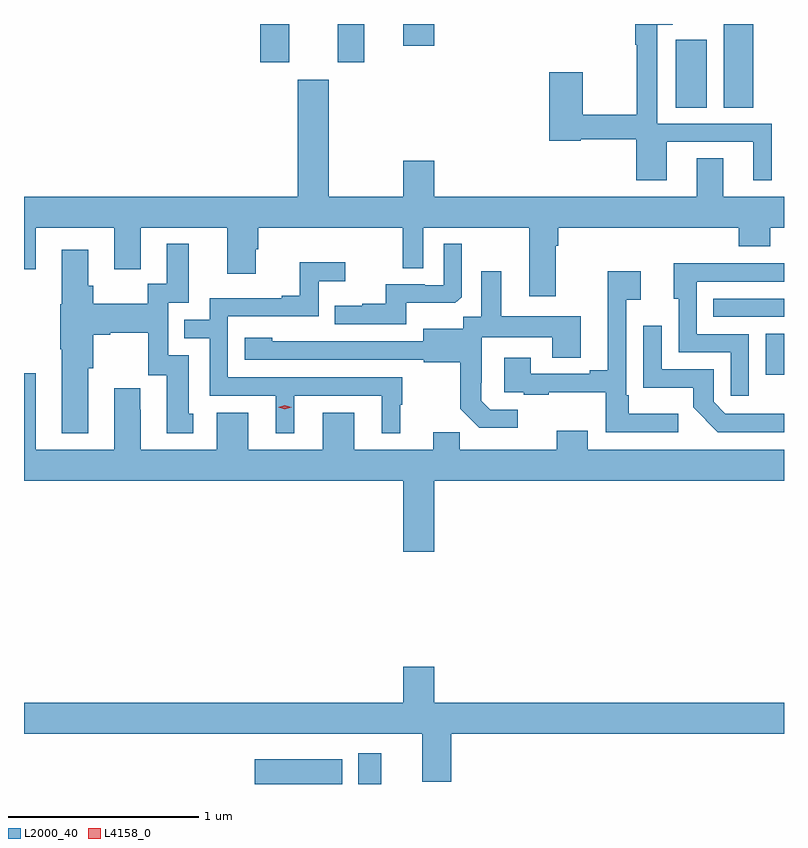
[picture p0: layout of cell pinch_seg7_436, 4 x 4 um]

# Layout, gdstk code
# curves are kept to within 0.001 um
import gdstk
lib = gdstk.Library(unit=1e-6, precision=1e-09)
def R(c, l, rs):  # rectangles x0, y0, x1, y1
    for r in rs: c.add(gdstk.rectangle(r[:2], r[2:], *l))
def P(c, l, *ps):  # polygons
    for p in ps: c.add(gdstk.Polygon(p, *l))
L2000_40 = (2000, 40)
L4158_0 = (4158, 0)

pinch_seg7_436 = lib.new_cell('pinch_seg7_436')
R(pinch_seg7_436, L2000_40, [(272.118,1048.304,272.578,1048.435), (272.663,1048.304,272.785,1048.465), (274.808,1050.458,274.904,1050.673), (274.531,1050.762,274.904,1050.858), (274.334,1051.864,274.498,1052.221), (274.586,1051.864,274.741,1052.304), (272.147,1052.103,272.299,1052.304), (272.555,1052.103,272.695,1052.304), (272.9,1052.19,273.064,1052.304)])
P(pinch_seg7_436, L2000_40, [(274.288,1051.683),(274.742,1051.683),(274.742,1051.482),(274.84,1051.482),(274.84,1051.779),(274.236,1051.779),(274.236,1052.301),(274.318,1052.301),(274.318,1052.304),(274.12,1052.304),(274.12,1052.194),(274.128,1052.194),(274.128,1051.826),(273.846,1051.826),(273.846,1052.05),(273.668,1052.05),(273.668,1051.69),(273.834,1051.69),(273.834,1051.698),(274.127,1051.698),(274.127,1051.482),(274.288,1051.482)],
  [(270.904,1051.014),(270.967,1051.014),(270.967,1051.232),(271.379,1051.232),(271.379,1051.014),(271.519,1051.014),(271.519,1051.232),(271.973,1051.232),(271.973,1050.99),(272.125,1050.99),(272.125,1051.119),(272.138,1051.119),(272.138,1051.232),(272.898,1051.232),(272.898,1051.018),(273.006,1051.018),(273.006,1051.232),(273.563,1051.232),(273.563,1050.87),(273.703,1050.87),(273.703,1051.136),(273.716,1051.136),(273.716,1051.232),(274.667,1051.232),(274.667,1051.133),(274.831,1051.133),(274.831,1051.232),(274.904,1051.232),(274.904,1051.396),(274.585,1051.396),(274.585,1051.598),(274.445,1051.598),(274.445,1051.396),(273.064,1051.396),(273.064,1051.585),(272.9,1051.585),(272.9,1051.396),(272.509,1051.396),(272.509,1052.011),(272.345,1052.011),(272.345,1051.396),(270.904,1051.396)],
  [(272.917,1050.836),(273.175,1050.836),(273.207,1050.867),(273.207,1051.147),(273.114,1051.147),(273.114,1050.93),(273.014,1050.93),(273.014,1050.933),(272.807,1050.933),(272.807,1050.832),(272.683,1050.832),(272.683,1050.82),(272.539,1050.82),(272.539,1050.723),(272.917,1050.723)],
  [(271.243,1050.491),(271.269,1050.491),(271.269,1050.668),(271.357,1050.668),(271.357,1050.68),(271.559,1050.68),(271.559,1050.456),(271.655,1050.456),(271.655,1050.15),(271.795,1050.15),(271.795,1050.252),(271.771,1050.252),(271.771,1050.561),(271.662,1050.561),(271.662,1050.837),(271.771,1050.837),(271.771,1051.147),(271.655,1051.147),(271.655,1050.938),(271.554,1050.938),(271.554,1050.832),(271.269,1050.832),(271.269,1050.927),(271.243,1050.927),(271.243,1051.117),(271.103,1051.117),(271.103,1050.828),(271.096,1050.828),(271.096,1050.591),(271.103,1050.591),(271.103,1050.149),(271.243,1050.149)],
  [(272.326,1050.348),(272.786,1050.348),(272.786,1050.149),(272.884,1050.149),(272.884,1050.3),(272.896,1050.3),(272.896,1050.444),(271.977,1050.444),(271.977,1050.765),(272.454,1050.765),(272.454,1050.95),(272.596,1050.95),(272.596,1051.049),(272.356,1051.049),(272.356,1050.874),(272.261,1050.874),(272.261,1050.861),(271.881,1050.861),(271.881,1050.747),(271.747,1050.747),(271.747,1050.651),(271.881,1050.651),(271.881,1050.348),(272.228,1050.348),(272.228,1050.149),(272.326,1050.149)],
  [(274.719,1050.672),(274.446,1050.672),(274.446,1050.948),(274.904,1050.948),(274.904,1051.044),(274.543,1051.044),(274.543,1051.046),(274.325,1051.046),(274.325,1050.858),(274.35,1050.858),(274.35,1050.576),(274.623,1050.576),(274.623,1050.348),(274.719,1050.348)],
  [(273.502,1050.273),(273.357,1050.273),(273.31,1050.32),(273.31,1050.415),(273.312,1050.415),(273.312,1050.656),(273.683,1050.656),(273.683,1050.547),(273.835,1050.547),(273.835,1050.766),(273.415,1050.766),(273.415,1051.003),(273.311,1051.003),(273.311,1050.764),(273.216,1050.764),(273.216,1050.7),(273.005,1050.7),(273.005,1050.633),(272.211,1050.634),(272.211,1050.652),(272.067,1050.652),(272.067,1050.537),(273.009,1050.537),(273.009,1050.525),(273.201,1050.525),(273.201,1050.279),(273.301,1050.179),(273.502,1050.179)],
  [(274.348,1050.253),(274.087,1050.253),(274.087,1050.349),(274.074,1050.349),(274.074,1050.854),(274.15,1050.854),(274.15,1051.003),(273.977,1051.003),(273.977,1050.481),(273.881,1050.481),(273.881,1050.462),(273.571,1050.462),(273.571,1050.547),(273.431,1050.547),(273.431,1050.366),(273.535,1050.366),(273.535,1050.354),(273.667,1050.354),(273.667,1050.365),(273.966,1050.365),(273.966,1050.156),(274.348,1050.156)],
  [(274.904,1050.254),(274.82,1050.254),(274.82,1050.252),(274.596,1050.252),(274.533,1050.315),(274.533,1050.486),(274.26,1050.486),(274.26,1050.715),(274.164,1050.715),(274.164,1050.389),(274.426,1050.389),(274.426,1050.287),(274.556,1050.156),(274.904,1050.156)],
  [(274.904,1050.064),(273.871,1050.064),(273.871,1050.163),(273.707,1050.163),(273.707,1050.064),(273.197,1050.064),(273.197,1050.155),(273.059,1050.155),(273.059,1050.064),(272.641,1050.064),(272.641,1050.259),(272.477,1050.259),(272.477,1050.064),(272.083,1050.064),(272.083,1050.259),(271.919,1050.259),(271.919,1050.064),(271.519,1050.064),(271.519,1050.275),(271.516,1050.275),(271.516,1050.388),(271.379,1050.388),(271.379,1050.064),(270.967,1050.064),(270.967,1050.466),(270.904,1050.466),(270.904,1049.9),(272.9,1049.9),(272.9,1049.526),(273.064,1049.526),(273.064,1049.9),(274.904,1049.9)],
  [(273.152,1048.568),(274.904,1048.568),(274.904,1048.732),(273.064,1048.732),(273.064,1048.921),(272.9,1048.921),(272.9,1048.732),(270.904,1048.732),(270.904,1048.568),(272.999,1048.568),(272.999,1048.316),(273.152,1048.316)])
P(pinch_seg7_436, L4158_0, [(272.277,1050.277),(272.242,1050.287),(272.241,1050.287),(272.242,1050.287),(272.277,1050.297),(272.312,1050.287),(272.313,1050.287),(272.312,1050.287)])

lib.write_gds('pinch_seg7_436.gds')
